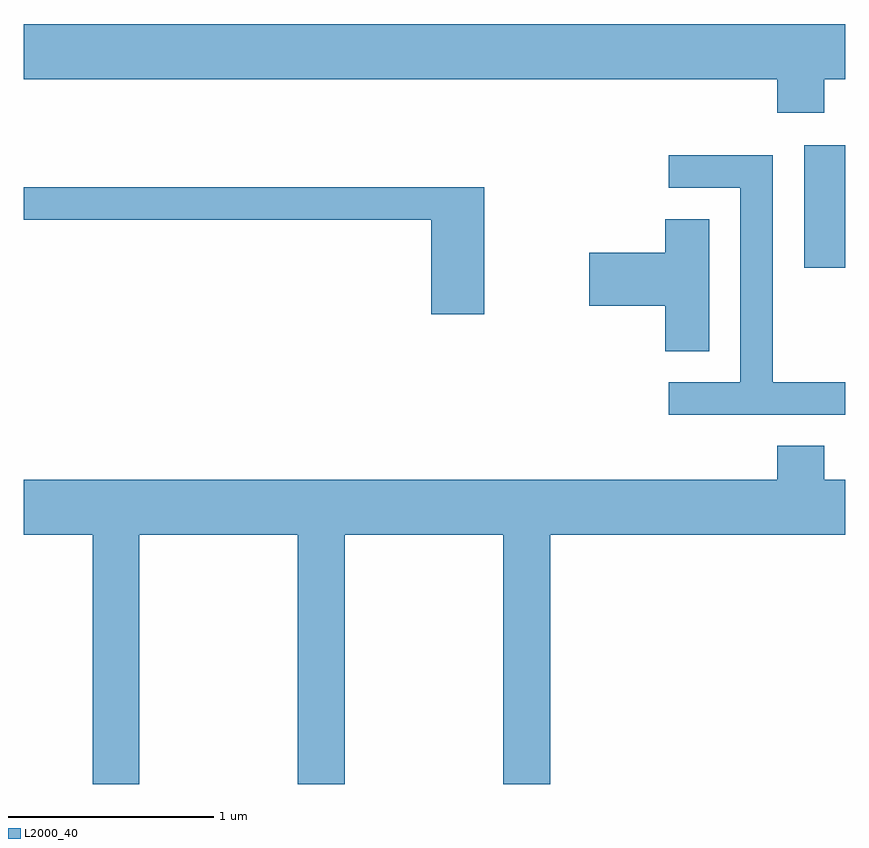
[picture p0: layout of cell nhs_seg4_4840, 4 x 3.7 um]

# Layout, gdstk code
import gdstk
lib = gdstk.Library(unit=1e-6, precision=1e-09)
def R(c, l, rs):  # rectangles x0, y0, x1, y1
    for r in rs: c.add(gdstk.rectangle(r[:2], r[2:], *l))
def P(c, l, *ps):  # polygons
    for p in ps: c.add(gdstk.Polygon(p, *l))
L2000_40 = (2000, 40)

nhs_seg4_4840 = lib.new_cell('nhs_seg4_4840')
R(nhs_seg4_4840, L2000_40, [(331.411,1280.496,331.611,1281.094)])
P(nhs_seg4_4840, L2000_40, [(331.509,1281.416),(331.611,1281.416),(331.611,1281.684),(327.611,1281.684),(327.611,1281.416),(331.281,1281.416),(331.281,1281.251),(331.509,1281.251)],
  [(331.611,1279.939),(331.259,1279.939),(331.259,1281.044),(330.753,1281.044),(330.753,1280.886),(331.101,1280.886),(331.101,1279.939),(330.753,1279.939),(330.753,1279.781),(331.611,1279.781)],
  [(329.854,1280.889),(327.611,1280.889),(327.611,1280.731),(329.596,1280.731),(329.596,1280.271),(329.854,1280.271)],
  [(330.949,1280.734),(330.736,1280.734),(330.736,1280.569),(330.366,1280.569),(330.366,1280.311),(330.736,1280.311),(330.736,1280.091),(330.949,1280.091)],
  [(328.174,1279.196),(328.946,1279.196),(328.946,1277.982),(329.174,1277.982),(329.174,1279.196),(329.946,1279.196),(329.946,1277.982),(330.174,1277.982),(330.174,1279.196),(331.611,1279.196),(331.611,1279.464),(331.509,1279.464),(331.509,1279.629),(331.281,1279.629),(331.281,1279.464),(327.611,1279.464),(327.611,1279.196),(327.946,1279.196),(327.946,1277.982),(328.174,1277.982)])

lib.write_gds('nhs_seg4_4840.gds')
